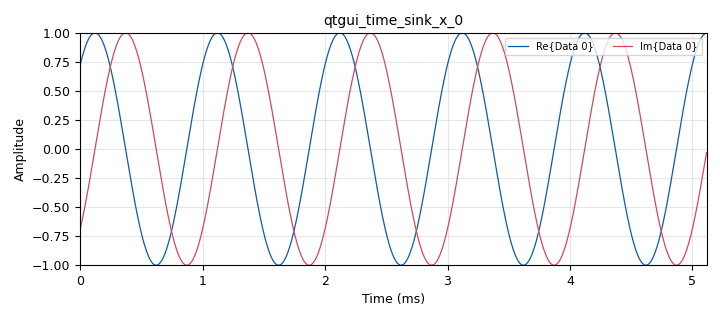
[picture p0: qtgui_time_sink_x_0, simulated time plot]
options:
  parameters:
    author: Lab2_2CaDu
    generate_options: qt_gui
    id: USRP
    output_language: python
    title: 'Medida de atenuacion '
  states: {}

blocks:
- name: A
  id: variable_qtgui_range
  parameters:
    label: Amplitud señal
    start: '0'
    step: '0.0001'
    stop: '1'
    value: '1'
  states: {}
- name: GTX
  id: variable_qtgui_range
  parameters:
    label: Ganancia del TX
    start: '0'
    step: '1'
    stop: '30'
    value: '0'
  states: {}
- name: fc
  id: variable_qtgui_range
  parameters:
    label: 'Frecuencia Portadora '
    start: '50000000'
    step: '1000000'
    stop: '2200000000'
    value: '50000000'
  states: {}
- name: samp_rate
  id: variable
  parameters:
    value: '200000'
  states: {}
- name: analog_sig_source_x_0
  id: analog_sig_source_x
  parameters:
    amp: A
    freq: '1000'
    offset: '0'
    phase: '0'
    samp_rate: samp_rate
    type: complex
    waveform: analog.GR_COS_WAVE
  states: {}
- name: qtgui_time_sink_x_0
  id: qtgui_time_sink_x
  parameters:
    size: '1024'
    srate: samp_rate
    type: complex
  states: {}
- name: uhd_usrp_sink_0
  id: uhd_usrp_sink
  parameters:
    ant0: '"TX/RX"'
    center_freq0: fc
    dev_args: '""'
    gain0: GTX
    samp_rate: samp_rate
    sync: pc_clock
    type: fc32
  states: {}

connections:
- [analog_sig_source_x_0, '0', qtgui_time_sink_x_0, '0']
- [analog_sig_source_x_0, '0', uhd_usrp_sink_0, '0']

metadata:
  file_format: 1
